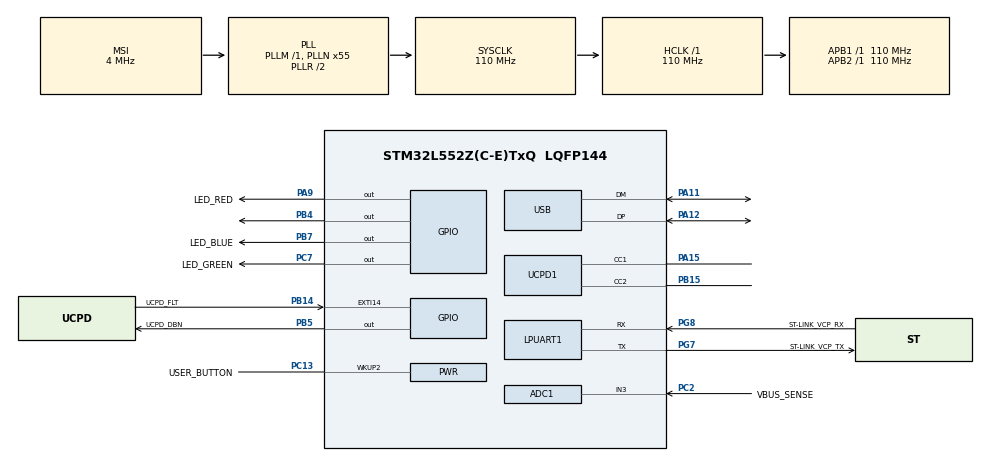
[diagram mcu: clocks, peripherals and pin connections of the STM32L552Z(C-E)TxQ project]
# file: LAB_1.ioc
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ADC1.Channel-0\#ChannelRegularConversion=ADC_CHANNEL_3
ADC1.NbrOfConversionFlag=1
ADC1.OffsetNumber-0\#ChannelRegularConversion=ADC_OFFSET_NONE
ADC1.Rank-0\#ChannelRegularConversion=1
ADC1.SamplingTime-0\#ChannelRegularConversion=ADC_SAMPLETIME_2CYCLES_5
ADC1.master=1
Mcu.Family=STM32L5
Mcu.Name=STM32L552Z(C-E)TxQ
Mcu.Package=LQFP144
Mcu.TrustZone=disable
NVIC.PriorityGroup=NVIC_PRIORITYGROUP_3
PA11.Mode=Device
PA11.Signal=USB_DM
PA12.Mode=Device
PA12.Signal=USB_DP
PA13\ (JTMS/SWDIO).Mode=Trace_Asynchronous_SW
PA13\ (JTMS/SWDIO).Signal=DEBUG_JTMS-SWDIO
PA14\ (JTCK/SWCLK).Mode=Trace_Asynchronous_SW
PA14\ (JTCK/SWCLK).Signal=DEBUG_JTCK-SWCLK
PA15\ (JTDI).Mode=Source_AllSignals
PA15\ (JTDI).Signal=UCPD1_CC1
PA9.GPIO_Label=LED_RED
PA9.Signal=GPIO_Output
PB14.GPIO_Label=UCPD_FLT
PB14.Signal=GPXTI14
PB15.Mode=Source_AllSignals
PB15.Signal=UCPD1_CC2
PB3\ (JTDO/TRACESWO).Mode=Trace_Asynchronous_SW
PB3\ (JTDO/TRACESWO).Signal=DEBUG_JTDO-SWO
PB4\ (NJTRST).Signal=GPIO_Output
PB5.GPIO_Label=UCPD_DBN
PB5.Signal=GPIO_Output
PB7.GPIO_Label=LED_BLUE
PB7.Signal=GPIO_Output
PC13.GPIO_Label=USER_BUTTON
PC13.Mode=WakeUp1
PC13.Signal=PWR_WKUP2
PC14-OSC32_IN\ (PC14).Mode=LSE-External-Oscillator
PC14-OSC32_IN\ (PC14).Signal=RCC_OSC32_IN
PC15-OSC32_OUT\ (PC15).Mode=LSE-External-Oscillator
PC15-OSC32_OUT\ (PC15).Signal=RCC_OSC32_OUT
PC2.GPIO_Label=VBUS_SENSE
PC2.Signal=ADCx_IN3
PC7.GPIO_Label=LED_GREEN
PC7.Signal=GPIO_Output
PG7.GPIO_Label=ST-LINK_VCP_TX
PG7.Mode=Asynchronous
PG7.Signal=LPUART1_TX
PG8.GPIO_Label=ST-LINK_VCP_RX
PG8.Mode=Asynchronous
PG8.Signal=LPUART1_RX
ProjectManager.HeapSize=0x200
ProjectManager.StackSize=0x400
ProjectManager.TargetToolchain=STM32CubeIDE
RCC.ADCCLockSelection=RCC_ADCCLKSOURCE_SYSCLK
RCC.ADCFreq_Value=110000000
RCC.AHBFreq_Value=110000000
RCC.APB1Freq_Value=110000000
RCC.APB1TimFreq_Value=110000000
RCC.APB2Freq_Value=110000000
RCC.APB2TimFreq_Value=110000000
RCC.CK48CLockSelection=RCC_USBCLKSOURCE_HSI48
RCC.CortexFreq_Value=110000000
RCC.HCLKFreq_Value=110000000
RCC.HSE_VALUE=8000000
RCC.HSI48_VALUE=48000000
RCC.HSI_VALUE=16000000
RCC.MSI_VALUE=4000000
RCC.PLLN=55
RCC.PLLSAI1N=24
RCC.RTCClockSelection=RCC_RTCCLKSOURCE_LSE
RCC.SYSCLKFreq_VALUE=110000000
RCC.SYSCLKSource=RCC_SYSCLKSOURCE_PLLCLK
RCC.USBFreq_Value=48000000
RCC.VCOOutputFreq_Value=220000000
SH.ADCx_IN3.0=ADC1_IN3,IN3-Single-Ended
VP_ICACHE_VS_ICACHE.Mode=DirectMappedCache
VP_PWR_VS_DBSignals.Mode=DisableDeadBatterySignals
VP_RTC_VS_RTC_Activate.Mode=RTC_Enabled
board=NUCLEO-L552ZE-Q

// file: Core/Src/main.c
/* USER CODE BEGIN Header */
/**
  ******************************************************************************
  * @file           : main.c
  * @brief          : Main program body
  ******************************************************************************
  * @attention
  *
  * Copyright (c) 2025 STMicroelectronics.
  * All rights reserved.
  *
  * This software is licensed under terms that can be found in the LICENSE file
  * in the root directory of this software component.
  * If no LICENSE file comes with this software, it is provided AS-IS.
  *
  ******************************************************************************
  */
/* USER CODE END Header */
#include "main.h"

/* USER CODE BEGIN PM */
#define LAB_TEST 1
/* USER CODE END PM */

ADC_HandleTypeDef hadc1;

UART_HandleTypeDef hlpuart1;

RTC_HandleTypeDef hrtc;

PCD_HandleTypeDef hpcd_USB_FS;

/* USER CODE BEGIN PV */
uint32_t blink_current_time = 1;
uint32_t blink_next_time = 0;
/* USER CODE END PV */

void SystemClock_Config(void);
static void MX_GPIO_Init(void);
static void MX_ADC1_Init(void);
static void MX_ICACHE_Init(void);
static void MX_LPUART1_UART_Init(void);
static void MX_RTC_Init(void);
static void MX_UCPD1_Init(void);
static void MX_USB_PCD_Init(void);
/* USER CODE BEGIN PFP */
uint8_t VerifyButtonPress(GPIO_TypeDef* PORT, uint16_t PIN, uint8_t positive_polls, uint8_t total_polls);
/* USER CODE END PFP */

int main(void)
{

  /* MCU Configuration--------------------------------------------------------*/

  /* Reset of all peripherals, Initializes the Flash interface and the Systick. */
  HAL_Init();

  /* Configure the system clock */
  SystemClock_Config();

  /* Initialize all configured peripherals */
  MX_GPIO_Init();
  MX_ADC1_Init();
  MX_ICACHE_Init();
  MX_LPUART1_UART_Init();
  MX_RTC_Init();
  MX_UCPD1_Init();
  MX_USB_PCD_Init();

  /* Infinite loop */
  /* USER CODE BEGIN WHILE */
  while (1)
  {

	  // Part 1
	  	  if (LAB_TEST == 1)
	  	  {
	  		  // Start LED Blink

	  		  blink_current_time = HAL_GetTick();								// Update current time variable
	  		  if (blink_next_time < blink_current_time)
	  		  {
	  			  HAL_GPIO_TogglePin(GPIOC, GPIO_PIN_7);						// Toggle LED
	  			  HAL_GPIO_TogglePin(GPIOB, GPIO_PIN_4);
	  			  blink_next_time = HAL_GetTick() + 1000;						// Set new timer for 1s
	  		  }
	  	  }

	  	  // Part 2
	  	  if (LAB_TEST == 2)
	  	  {
	  		  // Check for button press
	  		  if (HAL_GPIO_ReadPin(GPIOC, GPIO_PIN_13))
	  			  if (VerifyButtonPress(GPIOC, GPIO_PIN_13, 8, 10))
	  			  {
	  					  HAL_GPIO_TogglePin(GPIOC, GPIO_PIN_7);
	  		  	  	  	  HAL_GPIO_TogglePin(GPIOB, GPIO_PIN_4);
	  			  }
	  	  }

    /* USER CODE END WHILE */

  }
}

void SystemClock_Config(void)
{
  RCC_OscInitTypeDef RCC_OscInitStruct = {0};
  RCC_ClkInitTypeDef RCC_ClkInitStruct = {0};

  /** Configure the main internal regulator output voltage
  */
  if (HAL_PWREx_ControlVoltageScaling(PWR_REGULATOR_VOLTAGE_SCALE0) != HAL_OK)
  {
    Error_Handler();
  }

  /** Configure LSE Drive Capability
  */
  HAL_PWR_EnableBkUpAccess();
  __HAL_RCC_LSEDRIVE_CONFIG(RCC_LSEDRIVE_LOW);

  /** Initializes the RCC Oscillators according to the specified parameters
  * in the RCC_OscInitTypeDef structure.
  */
  RCC_OscInitStruct.OscillatorType = RCC_OSCILLATORTYPE_HSI48|RCC_OSCILLATORTYPE_LSE
                              |RCC_OSCILLATORTYPE_MSI;
  RCC_OscInitStruct.LSEState = RCC_LSE_ON;
  RCC_OscInitStruct.HSI48State = RCC_HSI48_ON;
  RCC_OscInitStruct.MSIState = RCC_MSI_ON;
  RCC_OscInitStruct.MSICalibrationValue = RCC_MSICALIBRATION_DEFAULT;
  RCC_OscInitStruct.MSIClockRange = RCC_MSIRANGE_6;
  RCC_OscInitStruct.PLL.PLLState = RCC_PLL_ON;
  RCC_OscInitStruct.PLL.PLLSource = RCC_PLLSOURCE_MSI;
  RCC_OscInitStruct.PLL.PLLM = 1;
  RCC_OscInitStruct.PLL.PLLN = 55;
  RCC_OscInitStruct.PLL.PLLP = RCC_PLLP_DIV7;
  RCC_OscInitStruct.PLL.PLLQ = RCC_PLLQ_DIV2;
  RCC_OscInitStruct.PLL.PLLR = RCC_PLLR_DIV2;
  if (HAL_RCC_OscConfig(&RCC_OscInitStruct) != HAL_OK)
  {
    Error_Handler();
  }

  /** Initializes the CPU, AHB and APB buses clocks
  */
  RCC_ClkInitStruct.ClockType = RCC_CLOCKTYPE_HCLK|RCC_CLOCKTYPE_SYSCLK
                              |RCC_CLOCKTYPE_PCLK1|RCC_CLOCKTYPE_PCLK2;
  RCC_ClkInitStruct.SYSCLKSource = RCC_SYSCLKSOURCE_PLLCLK;
  RCC_ClkInitStruct.AHBCLKDivider = RCC_SYSCLK_DIV1;
  RCC_ClkInitStruct.APB1CLKDivider = RCC_HCLK_DIV1;
  RCC_ClkInitStruct.APB2CLKDivider = RCC_HCLK_DIV1;

  if (HAL_RCC_ClockConfig(&RCC_ClkInitStruct, FLASH_LATENCY_5) != HAL_OK)
  {
    Error_Handler();
  }
}

static void MX_ADC1_Init(void)
{

  ADC_MultiModeTypeDef multimode = {0};
  ADC_ChannelConfTypeDef sConfig = {0};

  /** Common config
  */
  hadc1.Instance = ADC1;
  hadc1.Init.ClockPrescaler = ADC_CLOCK_ASYNC_DIV1;
  hadc1.Init.Resolution = ADC_RESOLUTION_12B;
  hadc1.Init.DataAlign = ADC_DATAALIGN_RIGHT;
  hadc1.Init.ScanConvMode = ADC_SCAN_DISABLE;
  hadc1.Init.EOCSelection = ADC_EOC_SINGLE_CONV;
  hadc1.Init.LowPowerAutoWait = DISABLE;
  hadc1.Init.ContinuousConvMode = DISABLE;
  hadc1.Init.NbrOfConversion = 1;
  hadc1.Init.DiscontinuousConvMode = DISABLE;
  hadc1.Init.ExternalTrigConv = ADC_SOFTWARE_START;
  hadc1.Init.ExternalTrigConvEdge = ADC_EXTERNALTRIGCONVEDGE_NONE;
  hadc1.Init.DMAContinuousRequests = DISABLE;
  hadc1.Init.Overrun = ADC_OVR_DATA_PRESERVED;
  hadc1.Init.OversamplingMode = DISABLE;
  if (HAL_ADC_Init(&hadc1) != HAL_OK)
  {
    Error_Handler();
  }

  /** Configure the ADC multi-mode
  */
  multimode.Mode = ADC_MODE_INDEPENDENT;
  if (HAL_ADCEx_MultiModeConfigChannel(&hadc1, &multimode) != HAL_OK)
  {
    Error_Handler();
  }

  /** Configure Regular Channel
  */
  sConfig.Channel = ADC_CHANNEL_3;
  sConfig.Rank = ADC_REGULAR_RANK_1;
  sConfig.SamplingTime = ADC_SAMPLETIME_2CYCLES_5;
  sConfig.SingleDiff = ADC_SINGLE_ENDED;
  sConfig.OffsetNumber = ADC_OFFSET_NONE;
  sConfig.Offset = 0;
  if (HAL_ADC_ConfigChannel(&hadc1, &sConfig) != HAL_OK)
  {
    Error_Handler();
  }

}

static void MX_ICACHE_Init(void)
{

  /** Enable instruction cache in 1-way (direct mapped cache)
  */
  if (HAL_ICACHE_ConfigAssociativityMode(ICACHE_1WAY) != HAL_OK)
  {
    Error_Handler();
  }
  if (HAL_ICACHE_Enable() != HAL_OK)
  {
    Error_Handler();
  }

}

static void MX_LPUART1_UART_Init(void)
{

  hlpuart1.Instance = LPUART1;
  hlpuart1.Init.BaudRate = 209700;
  hlpuart1.Init.WordLength = UART_WORDLENGTH_8B;
  hlpuart1.Init.StopBits = UART_STOPBITS_1;
  hlpuart1.Init.Parity = UART_PARITY_NONE;
  hlpuart1.Init.Mode = UART_MODE_TX_RX;
  hlpuart1.Init.HwFlowCtl = UART_HWCONTROL_NONE;
  hlpuart1.Init.OneBitSampling = UART_ONE_BIT_SAMPLE_DISABLE;
  hlpuart1.Init.ClockPrescaler = UART_PRESCALER_DIV1;
  hlpuart1.AdvancedInit.AdvFeatureInit = UART_ADVFEATURE_NO_INIT;
  hlpuart1.FifoMode = UART_FIFOMODE_DISABLE;
  if (HAL_UART_Init(&hlpuart1) != HAL_OK)
  {
    Error_Handler();
  }
  if (HAL_UARTEx_SetTxFifoThreshold(&hlpuart1, UART_TXFIFO_THRESHOLD_1_8) != HAL_OK)
  {
    Error_Handler();
  }
  if (HAL_UARTEx_SetRxFifoThreshold(&hlpuart1, UART_RXFIFO_THRESHOLD_1_8) != HAL_OK)
  {
    Error_Handler();
  }
  if (HAL_UARTEx_DisableFifoMode(&hlpuart1) != HAL_OK)
  {
    Error_Handler();
  }

}

static void MX_RTC_Init(void)
{

  RTC_PrivilegeStateTypeDef privilegeState = {0};

  /** Initialize RTC Only
  */
  hrtc.Instance = RTC;
  hrtc.Init.HourFormat = RTC_HOURFORMAT_24;
  hrtc.Init.AsynchPrediv = 127;
  hrtc.Init.SynchPrediv = 255;
  hrtc.Init.OutPut = RTC_OUTPUT_DISABLE;
  hrtc.Init.OutPutRemap = RTC_OUTPUT_REMAP_NONE;
  hrtc.Init.OutPutPolarity = RTC_OUTPUT_POLARITY_HIGH;
  hrtc.Init.OutPutType = RTC_OUTPUT_TYPE_OPENDRAIN;
  hrtc.Init.OutPutPullUp = RTC_OUTPUT_PULLUP_NONE;
  if (HAL_RTC_Init(&hrtc) != HAL_OK)
  {
    Error_Handler();
  }
  privilegeState.rtcPrivilegeFull = RTC_PRIVILEGE_FULL_NO;
  privilegeState.backupRegisterPrivZone = RTC_PRIVILEGE_BKUP_ZONE_NONE;
  privilegeState.backupRegisterStartZone2 = RTC_BKP_DR0;
  privilegeState.backupRegisterStartZone3 = RTC_BKP_DR0;
  if (HAL_RTCEx_PrivilegeModeSet(&hrtc, &privilegeState) != HAL_OK)
  {
    Error_Handler();
  }

}

static void MX_UCPD1_Init(void)
{

  LL_GPIO_InitTypeDef GPIO_InitStruct = {0};

  /* Peripheral clock enable */
  LL_APB1_GRP2_EnableClock(LL_APB1_GRP2_PERIPH_UCPD1);

  LL_AHB2_GRP1_EnableClock(LL_AHB2_GRP1_PERIPH_GPIOB);
  LL_AHB2_GRP1_EnableClock(LL_AHB2_GRP1_PERIPH_GPIOA);
  /**UCPD1 GPIO Configuration
  PB15   ------> UCPD1_CC2
  PA15 (JTDI)   ------> UCPD1_CC1
  */
  GPIO_InitStruct.Pin = LL_GPIO_PIN_15;
  GPIO_InitStruct.Mode = LL_GPIO_MODE_ANALOG;
  GPIO_InitStruct.Pull = LL_GPIO_PULL_NO;
  LL_GPIO_Init(GPIOB, &GPIO_InitStruct);

  GPIO_InitStruct.Pin = LL_GPIO_PIN_15;
  GPIO_InitStruct.Mode = LL_GPIO_MODE_ANALOG;
  GPIO_InitStruct.Pull = LL_GPIO_PULL_NO;
  LL_GPIO_Init(GPIOA, &GPIO_InitStruct);

}

static void MX_USB_PCD_Init(void)
{

  hpcd_USB_FS.Instance = USB;
  hpcd_USB_FS.Init.dev_endpoints = 8;
  hpcd_USB_FS.Init.speed = PCD_SPEED_FULL;
  hpcd_USB_FS.Init.phy_itface = PCD_PHY_EMBEDDED;
  hpcd_USB_FS.Init.Sof_enable = DISABLE;
  hpcd_USB_FS.Init.low_power_enable = DISABLE;
  hpcd_USB_FS.Init.lpm_enable = DISABLE;
  hpcd_USB_FS.Init.battery_charging_enable = DISABLE;
  if (HAL_PCD_Init(&hpcd_USB_FS) != HAL_OK)
  {
    Error_Handler();
  }

}

static void MX_GPIO_Init(void)
{
  GPIO_InitTypeDef GPIO_InitStruct = {0};

  /* GPIO Ports Clock Enable */
  __HAL_RCC_GPIOC_CLK_ENABLE();
  __HAL_RCC_GPIOB_CLK_ENABLE();
  __HAL_RCC_GPIOG_CLK_ENABLE();
  HAL_PWREx_EnableVddIO2();
  __HAL_RCC_GPIOA_CLK_ENABLE();

  /*Configure GPIO pin Output Level */
  HAL_GPIO_WritePin(LED_GREEN_GPIO_Port, LED_GREEN_Pin, GPIO_PIN_RESET);

  /*Configure GPIO pin Output Level */
  HAL_GPIO_WritePin(LED_RED_GPIO_Port, LED_RED_Pin, GPIO_PIN_RESET);

  /*Configure GPIO pin Output Level */
  HAL_GPIO_WritePin(GPIOB, GPIO_PIN_4|UCPD_DBN_Pin|LED_BLUE_Pin, GPIO_PIN_RESET);

  /*Configure GPIO pin : UCPD_FLT_Pin */
  GPIO_InitStruct.Pin = UCPD_FLT_Pin;
  GPIO_InitStruct.Mode = GPIO_MODE_IT_RISING;
  GPIO_InitStruct.Pull = GPIO_NOPULL;
  HAL_GPIO_Init(UCPD_FLT_GPIO_Port, &GPIO_InitStruct);

  /*Configure GPIO pin : LED_GREEN_Pin */
  GPIO_InitStruct.Pin = LED_GREEN_Pin;
  GPIO_InitStruct.Mode = GPIO_MODE_OUTPUT_PP;
  GPIO_InitStruct.Pull = GPIO_NOPULL;
  GPIO_InitStruct.Speed = GPIO_SPEED_FREQ_LOW;
  HAL_GPIO_Init(LED_GREEN_GPIO_Port, &GPIO_InitStruct);

  /*Configure GPIO pin : LED_RED_Pin */
  GPIO_InitStruct.Pin = LED_RED_Pin;
  GPIO_InitStruct.Mode = GPIO_MODE_OUTPUT_PP;
  GPIO_InitStruct.Pull = GPIO_NOPULL;
  GPIO_InitStruct.Speed = GPIO_SPEED_FREQ_LOW;
  HAL_GPIO_Init(LED_RED_GPIO_Port, &GPIO_InitStruct);

  /*Configure GPIO pins : PB4 UCPD_DBN_Pin LED_BLUE_Pin */
  GPIO_InitStruct.Pin = GPIO_PIN_4|UCPD_DBN_Pin|LED_BLUE_Pin;
  GPIO_InitStruct.Mode = GPIO_MODE_OUTPUT_PP;
  GPIO_InitStruct.Pull = GPIO_NOPULL;
  GPIO_InitStruct.Speed = GPIO_SPEED_FREQ_LOW;
  HAL_GPIO_Init(GPIOB, &GPIO_InitStruct);

}

/* USER CODE BEGIN 4 */

/*
   * Function Prototype 					uint8_t VerifyButtonPress(GPIO_TypeDef* PORT, uint16_t PIN, uint8_t positive_polls, uint8_t total_polls);
   *
   * Description:							This function will poll the user defined pin which the button is connected to on the MCU.
   * 											If the input pin is high for at least positive_polls then the function will return a positive value.
   * 											The function will poll the user defined pin total_polls and accumulate the ammount logic high reads
   * 											then the function will test this against the number the user entered as the check value.
   *
   * Inputs:								GPIO_TypeDef* PORT : 		GPIO struct representing the port the input is connected to.
   * 										uint16_t PIN : GPIO pin 	GPIO pin the input is connected to.
   * 										uint8_t positive_polls : 	Number of times the input must be logic high durring operation to get a
   * 																		positive output.
   * 										uint8_t total_polls : 		Number of times the function will poll input pin during operation.
   *
   * Outputs:								uint8_t : 1 and 0 representing the button is on and the button is off respectively.
   *
   * Side Effects:							Function holds processor with waiting timer until the function has polled the button "times"
   *
   * Example Usage:							// Check for button press
   *										  	if (HAL_GPIO_ReadPin(GPIOB, GPIO_PIN_7))
   *												if (VerifyButtonPress(GPIOB, GPIO_PIN_7, 8, 10))
   *													HAL_GPIO_TogglePin(GPIOB, GPIO_PIN_7);
  */
  uint8_t VerifyButtonPress(GPIO_TypeDef* PORT, uint16_t PIN, uint8_t positive_polls, uint8_t total_polls)
  {
  	// Verify user did not enter more successes than the total polls
  	if (positive_polls > total_polls)
  		return 0;	// Error
  	// Poll user pin
  	uint8_t positive_reads = 0;
  	for (uint8_t i = 0; i < total_polls; i++)
  	{
  		if (HAL_GPIO_ReadPin(PORT, PIN))
  			positive_reads++;
  		HAL_Delay(10);		// 10ms delay | Toatl Function time = (total_polls * 10ms)
  	}
  	if (positive_reads >= positive_polls)
  		return 1;	// Success
  	else
  		return 0;	// Failure
  }

/* USER CODE END 4 */

void Error_Handler(void)
{
  __disable_irq();
  while (1)
  {
  }
}
